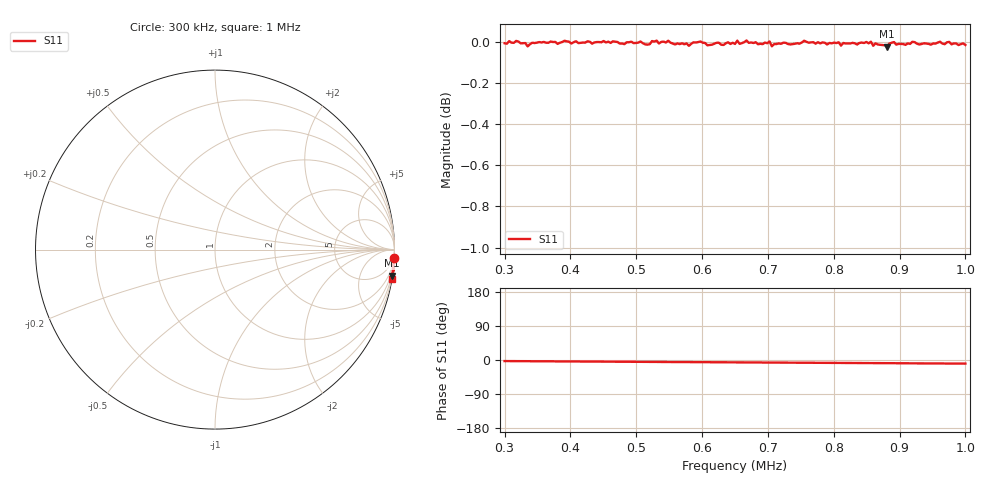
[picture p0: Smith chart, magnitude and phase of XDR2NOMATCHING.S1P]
!Agilent Technologies,E5071C,MY46100305,A.07.02
!Date: Fri Jan 01 00:26:41 1988
!Data & Calibration Information:
!Freq	S11:SOLT1(ON)
# Hz S MA R 50
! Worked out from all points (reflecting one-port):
!   201 points, 300 kHz to 1 MHz, reference 50 ohm
!   lowest |S11| = 0.0 dB at 881 kHz (marker M1), VSWR 738.51, Z = 12.6 - j681 ohm
!   phase of S11 starts at -3 deg and turns -7 deg over the sweep
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300000  0.9992 -2.8
317500  1 -3.1
324500  0.9992 -3.0
335000  0.9974 -3.3
342000  0.9995 -3.3
387500  0.9999 -3.8
401500  0.999 -3.8
408500  1 -3.9
475000  0.999 -4.5
517000  0.9984 -4.9
531000  1.001 -5.1
534500  0.999 -5.2
538000  0.9999 -5.1
562500  0.9991 -5.4
650000  0.9988 -6.2
667500  1.001 -6.5
685000  0.9986 -6.6
702500  1 -6.7
706000  0.9975 -6.7
737500  0.9987 -7.1
755000  1.001 -7.2
825000  0.999 -7.9
856500  1 -8.1
860000  0.9978 -8.2
881000  0.9973 -8.4
891500  0.9999 -8.5
912500  0.9991 -8.7
1000000  0.9982 -9.5
